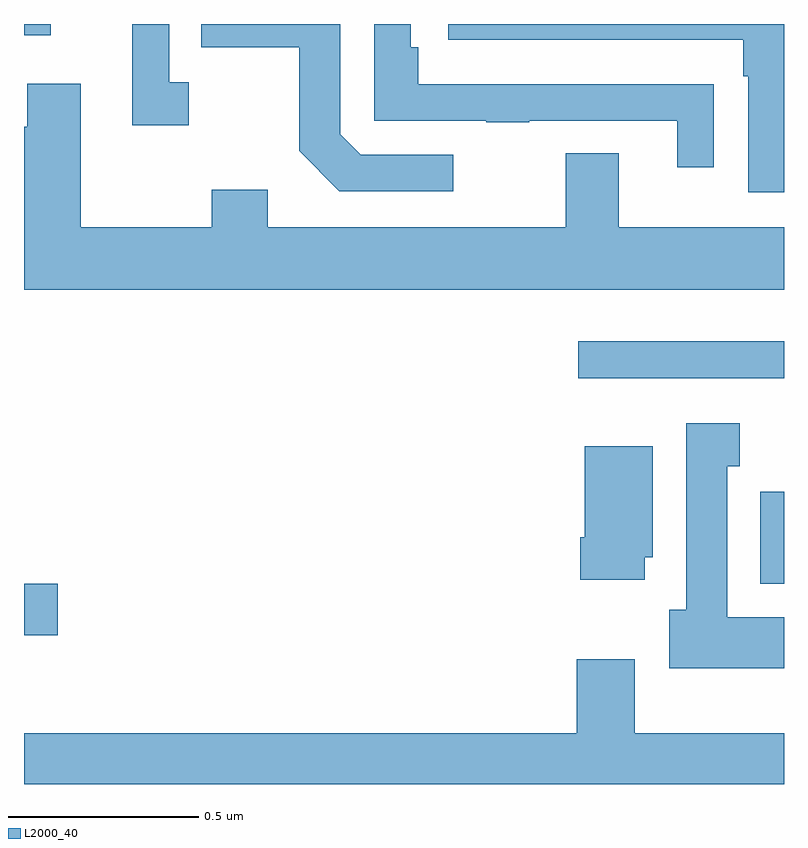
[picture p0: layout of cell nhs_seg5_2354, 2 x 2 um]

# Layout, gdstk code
import gdstk
lib = gdstk.Library(unit=1e-6, precision=1e-09)
def R(c, l, rs):  # rectangles x0, y0, x1, y1
    for r in rs: c.add(gdstk.rectangle(r[:2], r[2:], *l))
def P(c, l, *ps):  # polygons
    for p in ps: c.add(gdstk.Polygon(p, *l))
L2000_40 = (2000, 40)

nhs_seg5_2354 = lib.new_cell('nhs_seg5_2354')
R(nhs_seg5_2354, L2000_40, [(143,849.191,143.089,849.326), (144.938,849.326,145,849.568), (144.459,849.867,145,849.964), (143,850.769,143.071,850.799)])
P(nhs_seg5_2354, L2000_40, [(143.434,850.646),(143.382,850.646),(143.382,850.799),(143.285,850.799),(143.285,850.533),(143.434,850.533)],
  [(145,850.799),(144.117,850.799),(144.117,850.758),(144.893,850.758),(144.893,850.661),(144.906,850.661),(144.906,850.356),(145,850.356)],
  [(144.815,850.64),(144.713,850.64),(144.713,850.641),(144.038,850.641),(144.038,850.738),(144.018,850.738),(144.018,850.799),(143.922,850.799),(143.922,850.545),(144.217,850.545),(144.217,850.54),(144.329,850.54),(144.329,850.545),(144.719,850.545),(144.719,850.422),(144.815,850.422)],
  [(144.13,850.455),(143.886,850.455),(143.832,850.509),(143.832,850.799),(143.467,850.799),(143.467,850.738),(143.724,850.738),(143.724,850.465),(143.829,850.359),(144.13,850.359)],
  [(145,850.264),(144.565,850.264),(144.565,850.459),(144.425,850.459),(144.425,850.264),(143.641,850.264),(143.641,850.363),(143.494,850.363),(143.494,850.264),(143.149,850.264),(143.149,850.642),(143.009,850.642),(143.009,850.529),(143,850.529),(143,850.1),(145,850.1)],
  [(145,849.238),(144.85,849.238),(144.85,849.635),(144.883,849.635),(144.883,849.748),(144.743,849.748),(144.743,849.258),(144.698,849.258),(144.698,849.104),(145,849.104)],
  [(144.634,849.396),(144.655,849.396),(144.655,849.688),(144.476,849.688),(144.476,849.448),(144.464,849.448),(144.464,849.336),(144.634,849.336)],
  [(145,848.932),(144.607,848.932),(144.607,849.127),(144.455,849.127),(144.455,848.932),(143,848.932),(143,848.799),(145,848.799)])

lib.write_gds('nhs_seg5_2354.gds')
